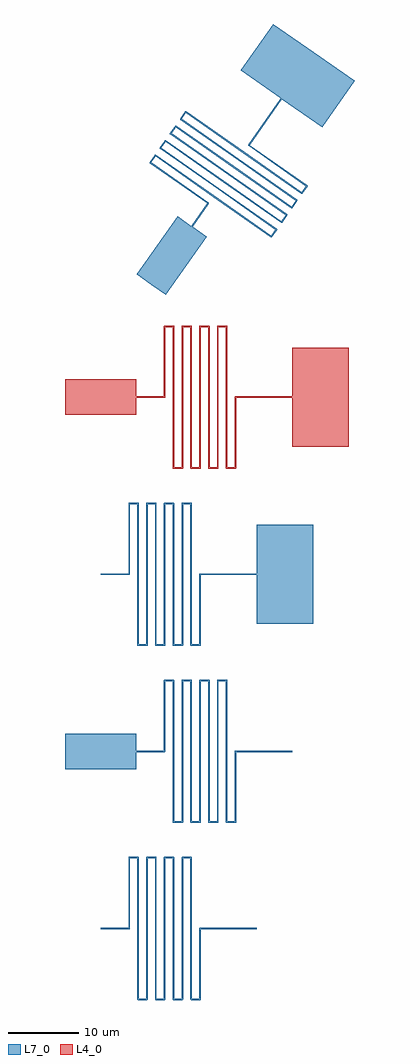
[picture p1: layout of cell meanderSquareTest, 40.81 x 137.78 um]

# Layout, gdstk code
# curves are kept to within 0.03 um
import gdstk
lib = gdstk.Library(unit=1e-6, precision=1e-09)
def P(c, l, *ps):  # polygons
    for p in ps: c.add(gdstk.Polygon(p, *l))
L4_0 = (4, 0)
L7_0 = (7, 0)

meandersquaretest = lib.new_cell('meanderSquareTest')
P(meandersquaretest, L4_0, [(-5,-2.5),(-5,0),(9.1,0),(9,-0.1),(5,-0.1),(5,-2.5)],
  [(10.25,-10.1),(10.179,-10.071),(10.15,-10),(10.15,0),(10.35,0),(10.35,-9.9),(11.4,-9.9),(11.4,0),(11.6,0),(11.598,-10.02),(11.571,-10.071),(11.5,-10.1)],
  [(12.75,-10.1),(12.679,-10.071),(12.65,-10),(12.65,0),(12.85,0),(12.85,-9.9),(13.9,-9.9),(13.9,0),(14.1,0),(14.098,-10.02),(14.071,-10.071),(14,-10.1)],
  [(15.25,-10.1),(15.179,-10.071),(15.15,-10),(15.15,0),(15.35,0),(15.35,-9.9),(16.4,-9.9),(16.4,0),(16.6,0),(16.598,-10.02),(16.571,-10.071),(16.5,-10.1)],
  [(17.75,-10.1),(17.65,-10),(17.65,0),(17.85,0),(17.85,-9.9),(18.9,-9.9),(18.9,0),(35,0),(35,-7),(27,-7),(27,-0.1),(19.1,-0.1),(19.098,-10.02),(19,-10.1)],
  [(-5,0),(-5,2.5),(5,2.5),(5,0.1),(8.9,0.1),(8.902,10.02),(9,10.1),(10.25,10.1),(10.333,10.056),(10.35,0),(10.15,0),(10.15,9.9),(9.1,9.9),(9.1,0)],
  [(11.4,0),(11.402,10.02),(11.429,10.071),(11.5,10.1),(12.77,10.098),(12.821,10.071),(12.85,10),(12.85,0),(12.65,0),(12.65,9.9),(11.6,9.9),(11.6,0)],
  [(13.9,0),(13.902,10.02),(13.929,10.071),(14,10.1),(15,10.1),(15,9.9),(14.1,9.9),(14.1,0)],
  [(18.9,0),(19,0.1),(27,0.1),(27,7),(35,7),(35,0)],
  [(15.15,0),(15.15,9.9),(15,9.9),(15,10.1),(15.27,10.098),(15.321,10.071),(15.35,10),(15.35,0)],
  [(16.4,0),(16.402,10.02),(16.429,10.071),(16.5,10.1),(17.77,10.098),(17.821,10.071),(17.85,10),(17.85,0),(17.65,0),(17.65,9.9),(16.6,9.9),(16.6,0)])
P(meandersquaretest, L7_0, [(0,-25.1),(0,-25),(4.1,-25),(4.098,-25.02),(4.092,-25.039),(4.083,-25.056),(4.071,-25.071),(4.056,-25.083),(4.039,-25.092),(4.02,-25.098),(4,-25.1)],
  [(5.25,-35.1),(5.179,-35.071),(5.15,-35),(5.15,-25),(5.35,-25),(5.35,-34.9),(6.4,-34.9),(6.4,-25),(6.6,-25),(6.598,-35.02),(6.571,-35.071),(6.5,-35.1)],
  [(7.75,-35.1),(7.679,-35.071),(7.65,-35),(7.65,-25),(7.85,-25),(7.85,-34.9),(8.9,-34.9),(8.9,-25),(9.1,-25),(9.098,-35.02),(9.071,-35.071),(9,-35.1)],
  [(10.25,-35.1),(10.179,-35.071),(10.15,-35),(10.15,-25),(10.35,-25),(10.35,-34.9),(11.4,-34.9),(11.4,-25),(11.6,-25),(11.598,-35.02),(11.571,-35.071),(11.5,-35.1)],
  [(12.75,-35.1),(12.679,-35.071),(12.65,-35),(12.65,-25),(12.85,-25),(12.85,-34.9),(13.9,-34.9),(13.9,-25),(15,-25),(15,-25.1),(14.1,-25.1),(14.098,-35.02),(14.071,-35.071),(14,-35.1)],
  [(22,-32),(22,-25.1),(15,-25.1),(15,-25),(30,-25),(30,-32)],
  [(13.9,-25),(13.902,-24.98),(13.908,-24.962),(13.917,-24.945),(13.929,-24.929),(13.945,-24.917),(13.962,-24.908),(13.98,-24.902),(14,-24.9),(15,-24.9),(15,-25)],
  [(0,-25),(0,-24.9),(3.9,-24.9),(3.902,-14.98),(3.929,-14.929),(4,-14.9),(5.289,-14.908),(5.35,-15),(5.35,-25),(5.15,-25),(5.15,-15.1),(4.1,-15.1),(4.1,-25)],
  [(6.4,-25),(6.402,-14.98),(6.429,-14.929),(6.5,-14.9),(7.77,-14.902),(7.821,-14.929),(7.85,-15),(7.85,-25),(7.65,-25),(7.65,-15.1),(6.6,-15.1),(6.6,-25)],
  [(8.9,-25),(8.902,-14.98),(8.929,-14.929),(9,-14.9),(10.27,-14.902),(10.321,-14.929),(10.35,-15),(10.35,-25),(10.15,-25),(10.15,-15.1),(9.1,-15.1),(9.1,-25)],
  [(11.4,-25),(11.402,-14.98),(11.429,-14.929),(11.5,-14.9),(12.77,-14.902),(12.821,-14.929),(12.85,-15),(12.85,-25),(12.65,-25),(12.65,-15.1),(11.6,-15.1),(11.6,-25)],
  [(15,-25),(15,-24.9),(22,-24.9),(22,-18),(30,-18),(30,-25)],
  [(-5,-52.5),(-5,-50),(9.1,-50),(9,-50.1),(5,-50.1),(5,-52.5)],
  [(10.25,-60.1),(10.179,-60.071),(10.15,-60),(10.15,-50),(10.35,-50),(10.35,-59.9),(11,-59.9),(11,-60.1)],
  [(11,-60.1),(11,-59.9),(11.4,-59.9),(11.4,-50),(11.6,-50),(11.6,-60),(11.571,-60.071),(11.52,-60.098)],
  [(12.75,-60.1),(12.679,-60.071),(12.65,-60),(12.65,-50),(12.85,-50),(12.85,-59.9),(13.9,-59.9),(13.9,-50),(14.1,-50),(14.098,-60.02),(14.071,-60.071),(14,-60.1)],
  [(15.25,-60.1),(15.179,-60.071),(15.15,-60),(15.15,-50),(15.35,-50),(15.35,-59.9),(16.4,-59.9),(16.4,-50),(16.6,-50),(16.598,-60.02),(16.571,-60.071),(16.5,-60.1)],
  [(17.75,-60.1),(17.679,-60.071),(17.65,-60),(17.65,-50),(17.85,-50),(17.85,-59.9),(18.9,-59.9),(18.9,-50),(27,-50),(27,-50.1),(19.1,-50.1),(19.098,-60.02),(19.071,-60.071),(19,-60.1)],
  [(-5,-50),(-5,-47.5),(5,-47.5),(5,-49.9),(8.9,-49.9),(8.902,-39.98),(9,-39.9),(10.25,-39.9),(10.333,-39.944),(10.35,-50),(10.15,-50),(10.15,-40.1),(9.1,-40.1),(9.1,-50)],
  [(18.9,-50),(18.902,-49.98),(18.908,-49.962),(18.917,-49.945),(18.929,-49.929),(18.945,-49.917),(18.962,-49.908),(18.98,-49.902),(19,-49.9),(27,-49.9),(27,-50)],
  [(11.4,-50),(11.402,-39.98),(11.429,-39.929),(11.5,-39.9),(12.77,-39.902),(12.821,-39.929),(12.85,-40),(12.85,-50),(12.65,-50),(12.65,-40.1),(11.6,-40.1),(11.6,-50)],
  [(13.9,-50),(13.902,-39.98),(13.929,-39.929),(14,-39.9),(15.27,-39.902),(15.321,-39.929),(15.35,-40),(15.35,-50),(15.15,-50),(15.15,-40.1),(14.1,-40.1),(14.1,-50)],
  [(16.4,-50),(16.402,-39.98),(16.429,-39.929),(16.5,-39.9),(17.77,-39.902),(17.821,-39.929),(17.85,-40),(17.85,-50),(17.65,-50),(17.65,-40.1),(16.6,-40.1),(16.6,-50)],
  [(0,-75.1),(0,-75),(4.1,-75),(4.098,-75.02),(4.092,-75.039),(4.083,-75.056),(4.071,-75.071),(4.056,-75.083),(4.039,-75.092),(4.02,-75.098),(4,-75.1)],
  [(5.25,-85.1),(5.179,-85.071),(5.15,-85),(5.15,-75),(5.35,-75),(5.35,-84.9),(6.4,-84.9),(6.4,-75),(6.6,-75),(6.598,-85.02),(6.571,-85.071),(6.5,-85.1)],
  [(7.75,-85.1),(7.679,-85.071),(7.65,-85),(7.65,-75),(7.85,-75),(7.85,-84.9),(8.9,-84.9),(8.9,-75),(9.1,-75),(9.098,-85.02),(9.071,-85.071),(9,-85.1)],
  [(10.25,-85.1),(10.179,-85.071),(10.15,-85),(10.15,-75),(10.35,-75),(10.35,-84.9),(11,-84.9),(11,-85.1)],
  [(11,-85.1),(11,-84.9),(11.4,-84.9),(11.4,-75),(11.6,-75),(11.6,-85),(11.571,-85.071),(11.52,-85.098)],
  [(12.75,-85.1),(12.679,-85.071),(12.65,-85),(12.65,-75),(12.85,-75),(12.85,-84.9),(13.9,-84.9),(13.9,-75),(22,-75),(22,-75.1),(14.1,-75.1),(14.098,-85.02),(14.071,-85.071),(14,-85.1)],
  [(0,-75),(0,-74.9),(3.9,-74.9),(3.902,-64.98),(3.929,-64.929),(4,-64.9),(5.289,-64.908),(5.35,-65),(5.35,-75),(5.15,-75),(5.15,-65.1),(4.1,-65.1),(4.1,-75)],
  [(6.4,-75),(6.402,-64.98),(6.429,-64.929),(6.5,-64.9),(7.77,-64.902),(7.821,-64.929),(7.85,-65),(7.85,-75),(7.65,-75),(7.65,-65.1),(6.6,-65.1),(6.6,-75)],
  [(8.9,-75),(8.902,-64.98),(8.929,-64.929),(9,-64.9),(10.27,-64.902),(10.321,-64.929),(10.35,-65),(10.35,-75),(10.15,-75),(10.15,-65.1),(9.1,-65.1),(9.1,-75)],
  [(13.9,-75),(13.902,-74.98),(13.908,-74.962),(13.917,-74.945),(13.929,-74.929),(13.945,-74.917),(13.962,-74.908),(13.98,-74.902),(14,-74.9),(22,-74.9),(22,-75)],
  [(11.4,-75),(11.402,-64.98),(11.429,-64.929),(11.5,-64.9),(12.77,-64.902),(12.821,-64.929),(12.85,-65),(12.85,-75),(12.65,-75),(12.65,-65.1),(11.6,-65.1),(11.6,-75)],
  [(9.18,14.47),(7.132,15.904),(15.22,27.454),(15.244,27.315),(12.95,24.038),(14.916,22.662)],
  [(24.071,22.561),(15.822,28.314),(15.937,28.478),(24.046,22.8),(24.648,23.66),(16.539,29.338),(16.653,29.502),(24.86,23.753),(24.888,23.683),(24.87,23.627),(24.153,22.603)],
  [(25.505,24.608),(17.256,30.362),(17.37,30.526),(25.48,24.848),(26.082,25.708),(17.973,31.386),(18.087,31.55),(26.294,25.801),(26.322,25.731),(26.304,25.675),(25.587,24.651)],
  [(26.938,26.656),(18.69,32.41),(18.804,32.574),(26.914,26.896),(27.516,27.756),(19.407,33.434),(19.521,33.598),(27.728,27.849),(27.756,27.778),(27.737,27.723),(27.013,26.689)],
  [(28.372,28.704),(20.124,34.458),(20.238,34.622),(28.348,28.943),(28.95,29.804),(20.841,35.482),(30.075,48.67),(35.809,44.655),(31.221,38.102),(25.568,42.06),(21.037,35.588),(29.162,29.897),(29.171,29.771),(28.447,28.737)],
  [(7.132,15.904),(5.084,17.338),(10.82,25.53),(12.786,24.153),(15.023,27.348),(6.898,33.039),(6.889,33.165),(7.606,34.189),(7.688,34.232),(15.937,28.478),(15.822,28.314),(7.712,33.993),(7.11,33.133),(15.22,27.454)],
  [(16.539,29.338),(8.332,35.087),(8.306,35.139),(8.323,35.213),(9.047,36.247),(9.122,36.28),(9.179,36.262),(17.37,30.526),(17.256,30.362),(9.146,36.041),(8.544,35.181),(16.653,29.502)],
  [(17.973,31.386),(9.766,37.135),(9.74,37.187),(9.757,37.261),(10.33,38.08),(10.494,37.966),(9.978,37.228),(18.087,31.55)],
  [(18.69,32.41),(10.58,38.089),(10.494,37.966),(10.33,38.08),(10.49,38.304),(10.556,38.328),(10.613,38.31),(18.804,32.574)],
  [(19.407,33.434),(11.2,39.183),(11.172,39.254),(11.191,39.309),(11.915,40.343),(11.99,40.376),(12.047,40.358),(20.238,34.622),(20.124,34.458),(12.014,40.136),(11.412,39.276),(19.521,33.598)],
  [(20.841,35.482),(20.816,35.621),(25.405,42.174),(19.752,46.132),(24.341,52.685),(30.075,48.67)])

lib.write_gds('meanderSquareTest.gds')
